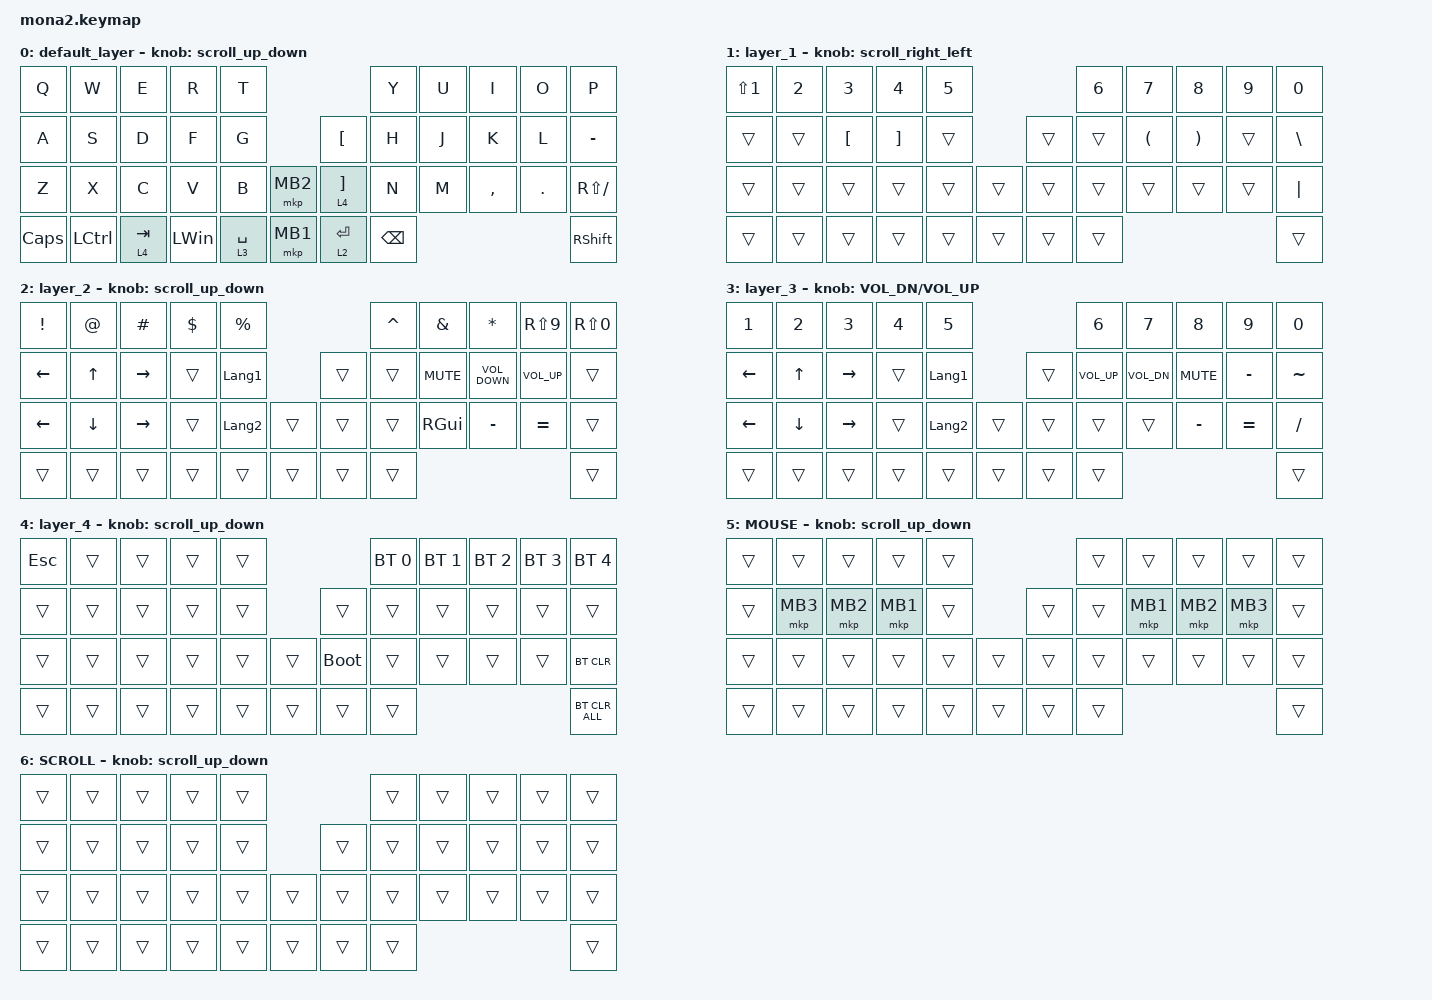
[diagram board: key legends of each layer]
#include <input/processors.dtsi>
#include <dt-bindings/zmk/input_transform.h>
#include <zephyr/dt-bindings/input/input-event-codes.h>
#include <behaviors.dtsi>
#include <dt-bindings/zmk/bt.h>
#include <dt-bindings/zmk/keys.h>
#include <dt-bindings/zmk/pointing.h>

#define ZMK_POINTING_DEFAULT_SCRL_VAL 100
#define MOUSE 5
#define SCROLL 6

&mt {
    flavor = "balanced";
    quick-tap-ms = <0>;
};

&lt {
    quick-tap-ms = <300>;
    flavor = "balanced";
};

/ {
    combos {
        compatible = "zmk,combos";

        tab {
            bindings = <&kp TAB>;
            key-positions = <4 3>;
        };

        lang1 {
            bindings = <&kp LANGUAGE_1>;
            key-positions = <1 0>;
        };

        lang2 {
            bindings = <&kp LANGUAGE_2>;
            key-positions = <11 10>;
        };

        leftcnt {
            bindings = <&kp LEFT_CONTROL>;
            key-positions = <2 1>;
        };

        scr {
            bindings = <&lt 3 SPACE>;
            key-positions = <14 13>;
        };
    };

    macros {
        to_layer_0: to_layer_0 {
            compatible = "zmk,behavior-macro-one-param";
            #binding-cells = <1>;
            bindings = <&to 0 &macro_param_1to1 &kp MACRO_PLACEHOLDER>;
            label = "TO_LAYER_0";
        };
    };

    behaviors {
        lt_to_layer_0: lt_to_layer_0 {
            compatible = "zmk,behavior-hold-tap";
            label = "LAYER_TAP_TO_0";
            bindings = <&mo>, <&to_layer_0>;

            #binding-cells = <2>;
            tapping-term-ms = <200>;
        };

        scroll_up_down: mouse_wheel_up_down {
            compatible = "zmk,behavior-sensor-rotate";
            #sensor-binding-cells = <0>;
            bindings = <&msc SCRL_DOWN>, <&msc SCRL_UP>;

            tap-ms = <20>;
        };

        scroll_right_left: mouse_wheel_right_left {
            compatible = "zmk,behavior-sensor-rotate";
            #sensor-binding-cells = <0>;
            bindings = <&msc SCRL_LEFT>, <&msc SCRL_RIGHT>;

            tap-ms = <20>;
        };
    };

    keymap {
        compatible = "zmk,keymap";

        default_layer {
            bindings = <
&kp Q     &kp W             &kp E      &kp R         &kp T                                            &kp Y          &kp U  &kp I      &kp O    &kp P
&kp A     &kp S             &kp D      &kp F         &kp G                    &kp LEFT_BRACKET        &kp H          &kp J  &kp K      &kp L    &kp MINUS
&kp Z     &kp X             &kp C      &kp V         &kp B        &mkp MB2    &lt 4 RIGHT_BRACKET     &kp N          &kp M  &kp COMMA  &kp DOT  &kp RS(SLASH)
&kp CAPS  &kp LEFT_CONTROL  &lt 4 TAB  &kp LEFT_WIN  &lt 3 SPACE  &mkp MB1    &lt_to_layer_0 2 ENTER  &kp BACKSPACE                             &kp RIGHT_SHIFT
            >;

            sensor-bindings = <&scroll_up_down>;
        };

        layer_1 {
            bindings = <
&kp LS(NUMBER_1)  &kp NUMBER_2  &kp NUMBER_3      &kp NUMBER_4       &kp NUMBER_5                    &kp NUMBER_6  &kp NUMBER_7          &kp NUMBER_8           &kp NUMBER_9  &kp NUMBER_0
&trans            &trans        &kp LEFT_BRACKET  &kp RIGHT_BRACKET  &trans                  &trans  &trans        &kp LEFT_PARENTHESIS  &kp RIGHT_PARENTHESIS  &trans        &kp BACKSLASH
&trans            &trans        &trans            &trans             &trans        &trans    &trans  &trans        &trans                &trans                 &trans        &kp PIPE
&trans            &trans        &trans            &trans             &trans        &trans    &trans  &trans                                                                   &trans
            >;

            sensor-bindings = <&scroll_right_left>;
        };

        layer_2 {
            bindings = <
&kp EXCLAMATION  &kp AT_SIGN     &kp POUND        &kp DOLLAR  &kp PERCENT                       &kp CARET  &kp AMPERSAND  &kp ASTERISK       &kp RS(N9)       &kp RS(N0)
&kp LEFT         &kp UP          &kp RIGHT        &trans      &kp LANGUAGE_1            &trans  &trans     &kp K_MUTE     &kp C_VOLUME_DOWN  &kp C_VOLUME_UP  &trans
&kp LEFT_ARROW   &kp DOWN_ARROW  &kp RIGHT_ARROW  &trans      &kp LANGUAGE_2  &trans    &trans  &trans     &kp RIGHT_GUI  &kp MINUS          &kp EQUAL        &trans
&trans           &trans          &trans           &trans      &trans          &trans    &trans  &trans                                                        &trans
            >;

            sensor-bindings = <&scroll_up_down>;
        };

        layer_3 {
            bindings = <
&kp NUMBER_1  &kp NUMBER_2    &kp NUMBER_3     &kp NUMBER_4  &kp N5                            &kp NUMBER_6     &kp N7        &kp N8      &kp N9     &kp N0
&kp LEFT      &kp UP_ARROW    &kp RIGHT        &trans        &kp LANGUAGE_1            &trans  &kp C_VOLUME_UP  &kp C_VOL_DN  &kp K_MUTE  &kp MINUS  &kp TILDE
&kp LEFT      &kp DOWN_ARROW  &kp RIGHT_ARROW  &trans        &kp LANGUAGE_2  &trans    &trans  &trans           &trans        &kp MINUS   &kp EQUAL  &kp SLASH
&trans        &trans          &trans           &trans        &trans          &trans    &trans  &trans                                                &trans
            >;

            sensor-bindings = <&inc_dec_kp C_VOL_DN C_VOL_UP>;
        };

        layer_4 {
            bindings = <
&kp ESCAPE  &trans  &trans  &trans  &trans                         &bt BT_SEL 0  &bt BT_SEL 1  &bt BT_SEL 2  &bt BT_SEL 3  &bt BT_SEL 4
&trans      &trans  &trans  &trans  &trans            &trans       &trans        &trans        &trans        &trans        &trans
&trans      &trans  &trans  &trans  &trans  &trans    &bootloader  &trans        &trans        &trans        &trans        &bt BT_CLR
&trans      &trans  &trans  &trans  &trans  &trans    &trans       &trans                                                  &bt BT_CLR_ALL
            >;

            sensor-bindings = <&scroll_up_down>;
        };

        MOUSE {
            bindings = <
&trans  &trans    &trans    &trans    &trans                    &trans  &trans    &trans    &trans    &trans
&trans  &mkp MB3  &mkp MB2  &mkp MB1  &trans            &trans  &trans  &mkp MB1  &mkp MB2  &mkp MB3  &trans
&trans  &trans    &trans    &trans    &trans  &trans    &trans  &trans  &trans    &trans    &trans    &trans
&trans  &trans    &trans    &trans    &trans  &trans    &trans  &trans                                &trans
            >;

            sensor-bindings = <&scroll_up_down>;
        };

        SCROLL {
            bindings = <
&trans  &trans  &trans  &trans  &trans                    &trans  &trans  &trans  &trans  &trans
&trans  &trans  &trans  &trans  &trans            &trans  &trans  &trans  &trans  &trans  &trans
&trans  &trans  &trans  &trans  &trans  &trans    &trans  &trans  &trans  &trans  &trans  &trans
&trans  &trans  &trans  &trans  &trans  &trans    &trans  &trans                          &trans
            >;

            sensor-bindings = <&scroll_up_down>;
        };
    };
};
